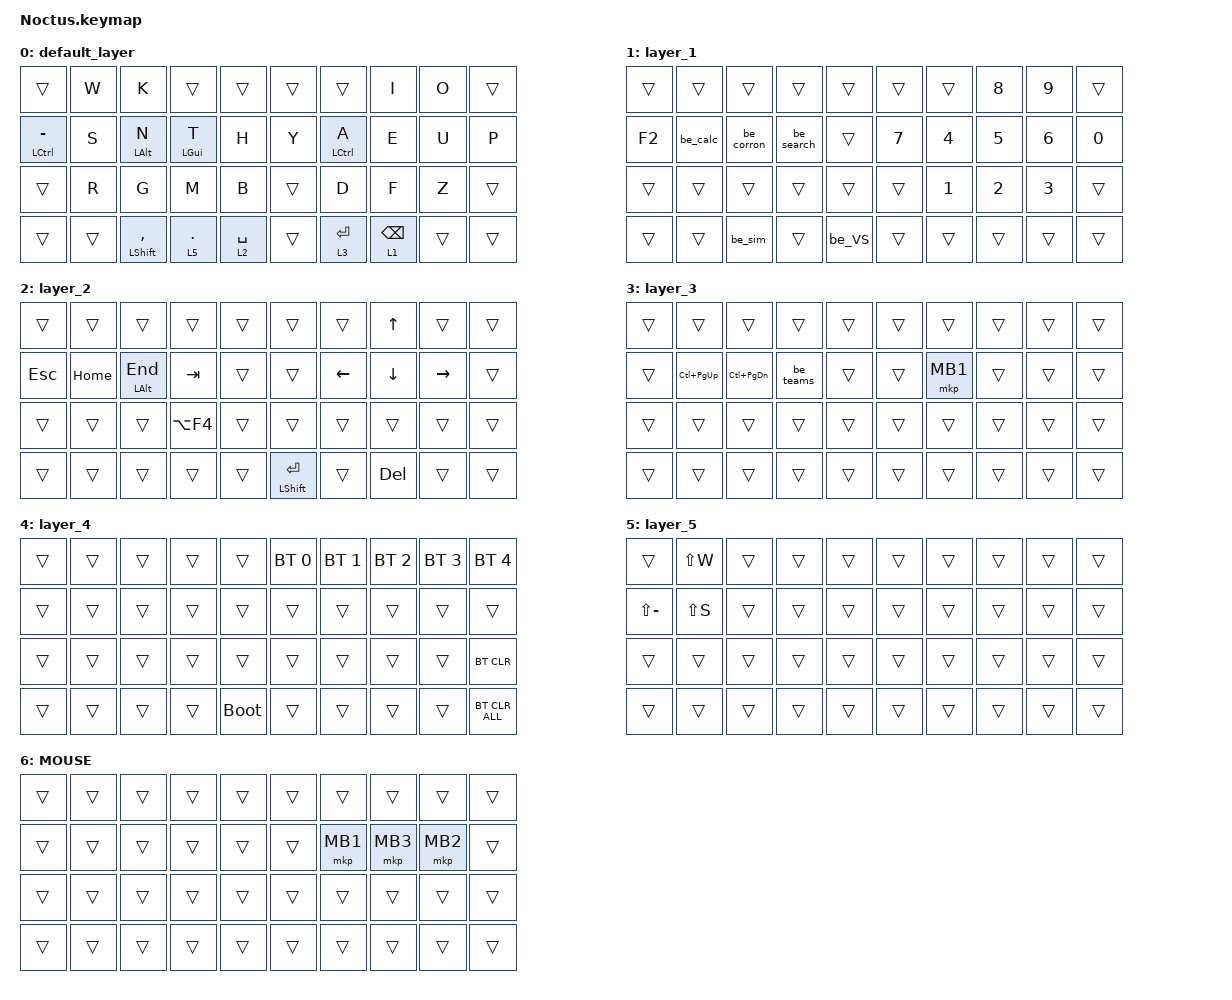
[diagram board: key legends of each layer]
#include <behaviors.dtsi>
#include <dt-bindings/zmk/bt.h>
#include <dt-bindings/zmk/keys.h>
#include <dt-bindings/zmk/pointing.h>

&mt {
    flavor = "balanced";
    quick-tap-ms = <0>;
};

/ {
    combos {
        compatible = "zmk,combos";

        co_int5 {
            bindings = <&kp INTERNATIONAL_5>;
            key-positions = <13 12>;
        };

        co_int4 {
            bindings = <&be_int4c>;
            key-positions = <16 17>;
        };

        co_lq {
            bindings = <&be_lq>;
            key-positions = <11 12>;
        };

        co_search {
            bindings = <&be_search>;
            key-positions = <28 26>;
        };

        co_shortcut {
            bindings = <&be_shortcut>;
            key-positions = <18 17>;
        };

        co_list {
            bindings = <&be_list>;
            key-positions = <28 26>;
        };

        co_symbol {
            bindings = <&be_symbol>;
            key-positions = <23 22>;
        };

        co_kakko {
            bindings = <&be_kakko>;
            key-positions = <28 27>;
        };

        co_lock {
            bindings = <&be_lock>;
            key-positions = <13 11>;
        };

        co_screen {
            bindings = <&cbe_screenshot>;
            key-positions = <23 21>;
        };

        co_xj {
            bindings = <&be_xj>;
            key-positions = <26 27>;
        };
    };

    macros {
        to_layer_0: to_layer_0 {
            compatible = "zmk,behavior-macro-one-param";
            #binding-cells = <1>;
            bindings = <&to 0 &macro_param_1to1 &kp MACRO_PLACEHOLDER>;
            label = "TO_LAYER_0";
        };

        ma_kakko: ma_kakko {
            compatible = "zmk,behavior-macro";
            #binding-cells = <0>;
            bindings = <&kp INT5 &kp LS(N8) &kp LS(N9) &kp LEFT_ARROW>;
            label = "MA_KAKKO";
        };

        ma_kakko2: ma_kakko2 {
            compatible = "zmk,behavior-macro";
            #binding-cells = <0>;
            bindings = <&kp INTERNATIONAL_5 &kp LS(COMMA) &kp LS(PERIOD) &kp LEFT>;
            label = "MA_KAKKO2";
        };

        ma_kakko3: ma_kakko3 {
            compatible = "zmk,behavior-macro";
            #binding-cells = <0>;
            bindings = <&kp RIGHT_BRACKET &kp BACKSLASH &kp LEFT>;
            label = "MA_KAKKO3";
        };

        ma_corron: ma_corron {
            compatible = "zmk,behavior-macro";
            #binding-cells = <0>;
            bindings = <&kp INTERNATIONAL_4 &kp K &kp O &kp R &kp O &kp N &kp SPACE &kp ENTER &kp INTERNATIONAL_5>;
            label = "MA_CORRON";
        };

        ma_at: ma_at {
            compatible = "zmk,behavior-macro";
            #binding-cells = <0>;
            bindings = <&kp INTERNATIONAL_5 &kp LEFT_BRACKET>;
            label = "MA_AT";
        };

        ma_under: ma_under {
            compatible = "zmk,behavior-macro";
            #binding-cells = <0>;
            bindings = <&kp INTERNATIONAL_4 &kp A &kp N &kp N &kp D &kp A &kp MINUS &kp B &kp A &kp MINUS &kp SPACE &kp ENTER &kp INTERNATIONAL_5>;
            label = "MA_UNDER";
        };
    };

    lt_to_layer_0: lt_to_layer_0 {
        compatible = "zmk,behavior-hold-tap";
        label = "LAYER_TAP_TO_0";
        bindings = <&mo>, <&to_layer_0>;

        #binding-cells = <2>;
        tapping-term-ms = <200>;
    };

    be_sim: be_sim {
        compatible = "zmk,behavior-tap-dance";
        label = "BE_SIM";
        #binding-cells = <0>;
        bindings = <&kp F5>, <&kp F10>, <&kp F11>;

        tapping-term-ms = <280>;
    };

    be_search: be_search {
        compatible = "zmk,behavior-tap-dance";
        label = "BE_SEARCH";
        #binding-cells = <0>;
        bindings = <&kp F12>, <&kp LS(LA(F12))>;

        tapping-term-ms = <280>;
    };

    be_VS: be_VS {
        compatible = "zmk,behavior-tap-dance";
        label = "BE_VS";
        #binding-cells = <0>;
        bindings = <&kp LS(LC(F))>, <&kp LS(LC(E))>;

        tapping-term-ms = <280>;
    };

    be_teams: be_teams {
        compatible = "zmk,behavior-tap-dance";
        label = "BE_TEAMS";
        #binding-cells = <0>;
        bindings = <&kp LS(LC(M))>, <&kp LS(LC(H))>;

        tapping-term-ms = <280>;
    };

    be_kakko: be_kakko {
        compatible = "zmk,behavior-tap-dance";
        label = "BE_KAKKO";
        #binding-cells = <0>;
        bindings = <&ma_kakko>, <&ma_kakko2>, <&ma_kakko3>;

        tapping-term-ms = <280>;
    };

    be_symbol: be_symbol {
        compatible = "zmk,behavior-tap-dance";
        label = "BE_SYMBOL";
        #binding-cells = <0>;
        bindings = <&ma_under>, <&ma_at>, <&kp LS(EQUAL)>;

        tapping-term-ms = <280>;
    };

    be_calc: be_calc {
        compatible = "zmk,behavior-tap-dance";
        label = "BE_CALC";
        #binding-cells = <0>;
        bindings = <&kp SLASH>, <&kp LS(SEMICOLON)>, <&kp LS(SQT)>;

        tapping-term-ms = <280>;
    };

    be_int4c: be_int4c {
        compatible = "zmk,behavior-tap-dance";
        label = "BE_INT4C";
        #binding-cells = <0>;
        bindings = <&kp INTERNATIONAL_4>, <&kp C>;

        tapping-term-ms = <280>;
    };

    be_lq: be_lq {
        compatible = "zmk,behavior-tap-dance";
        label = "BE_LQ";
        #binding-cells = <0>;
        bindings = <&kp L>, <&kp Q>;

        tapping-term-ms = <280>;
    };

    be_lock: be_lock {
        compatible = "zmk,behavior-tap-dance";
        label = "BE_LOCK";
        #binding-cells = <0>;
        bindings = <&kp LG(E)>, <&kp LG(L)>;

        tapping-term-ms = <280>;
    };

    be_shortcut: be_shortcut {
        compatible = "zmk,behavior-tap-dance";
        label = "BE_SHORTCUT";
        #binding-cells = <0>;
        bindings = <&kp LC(C)>, <&kp LC(V)>, <&kp LC(X)>;

        tapping-term-ms = <280>;
    };

    be_corron: be_corron {
        compatible = "zmk,behavior-tap-dance";
        label = "BE_CORRON";
        #binding-cells = <0>;
        bindings = <&ma_corron>, <&kp SEMICOLON>;

        tapping-term-ms = <270>;
    };

    be_faV: be_faV {
        compatible = "zmk,behavior-tap-dance";
        label = "BE_FAV";
        #binding-cells = <0>;
        bindings = <&kp LS(LC(O))>, <&kp V>;

        tapping-term-ms = <280>;
    };

    be_xj: be_xj {
        compatible = "zmk,behavior-tap-dance";
        label = "BE_XJ";
        #binding-cells = <0>;
        bindings = <&kp X>, <&kp J>;

        tapping-term-ms = <280>;
    };

    be_list: be_list {
        compatible = "zmk,behavior-tap-dance";
        label = "BE_LIST";
        #binding-cells = <0>;
        bindings = <&kp LC(L)>, <&kp LC(X)>;

        tapping-term-ms = <280>;
    };

    cbe_screenshot: cbe_screenshot {
        compatible = "zmk,behavior-tap-dance";
        label = "CBE_SCREENSHOT";
        #binding-cells = <0>;
        bindings = <&kp LG(R)>, <&kp LS(LG(S))>;

        tapping-term-ms = <280>;
    };
};

/ {
    behaviors {
    };

    keymap {
        compatible = "zmk,keymap";

        default_layer {
            bindings = <
&trans           &kp W   &kp K                 &trans          &trans         &trans  &trans       &kp I            &kp O   &trans
&mt LCTRL MINUS  &kp S   &mt LEFT_ALT N        &mt LEFT_GUI T  &kp H          &kp Y   &mt LCTRL A  &kp E            &kp U   &kp P
&trans           &kp R   &kp G                 &kp M           &kp B          &trans  &kp D        &kp F            &kp Z   &trans
&trans           &trans  &mt LEFT_SHIFT COMMA  &lt 5 PERIOD    &lt 2 SPACE    &trans  &lt 3 ENTER  &lt 1 BACKSPACE  &trans  &trans
            >;
        };

        layer_1 {
            bindings = <
&trans  &trans    &trans      &trans      &trans    &trans  &trans        &kp N8        &kp N9        &trans
&kp F2  &be_calc  &be_corron  &be_search  &trans    &kp N7  &kp NUMBER_4  &kp N5        &kp NUMBER_6  &kp N0
&trans  &trans    &trans      &trans      &trans    &trans  &kp NUMBER_1  &kp NUMBER_2  &kp NUMBER_3  &trans
&trans  &trans    &be_sim     &trans      &be_VS    &trans  &trans        &trans        &trans        &trans
            >;
        };

        layer_2 {
            bindings = <
&trans   &trans    &trans        &trans      &trans    &trans            &trans    &kp UP_ARROW  &trans     &trans
&kp ESC  &kp HOME  &mt LALT END  &kp TAB     &trans    &trans            &kp LEFT  &kp DOWN      &kp RIGHT  &trans
&trans   &trans    &trans        &kp LA(F4)  &trans    &trans            &trans    &trans        &trans     &trans
&trans   &trans    &trans        &trans      &trans    &mt LSHIFT ENTER  &trans    &kp DELETE    &trans     &trans
            >;
        };

        layer_3 {
            bindings = <
&trans  &trans           &trans             &trans     &trans    &trans  &trans    &trans  &trans  &trans
&trans  &kp LC(PAGE_UP)  &kp LC(PAGE_DOWN)  &be_teams  &trans    &trans  &mkp MB1  &trans  &trans  &trans
&trans  &trans           &trans             &trans     &trans    &trans  &trans    &trans  &trans  &trans
&trans  &trans           &trans             &trans     &trans    &trans  &trans    &trans  &trans  &trans
            >;
        };

        layer_4 {
            bindings = <
&trans  &trans  &trans  &trans  &trans         &bt BT_SEL 0  &bt BT_SEL 1  &bt BT_SEL 2  &bt BT_SEL 3  &bt BT_SEL 4
&trans  &trans  &trans  &trans  &trans         &trans        &trans        &trans        &trans        &trans
&trans  &trans  &trans  &trans  &trans         &trans        &trans        &trans        &trans        &bt BT_CLR
&trans  &trans  &trans  &trans  &bootloader    &trans        &trans        &trans        &trans        &bt BT_CLR_ALL
            >;
        };

        layer_5 {
            bindings = <
&trans         &kp LS(W)  &trans  &trans  &trans    &trans  &trans  &trans  &trans  &trans
&kp LS(MINUS)  &kp LS(S)  &trans  &trans  &trans    &trans  &trans  &trans  &trans  &trans
&trans         &trans     &trans  &trans  &trans    &trans  &trans  &trans  &trans  &trans
&trans         &trans     &trans  &trans  &trans    &trans  &trans  &trans  &trans  &trans
            >;
        };

        MOUSE {
            bindings = <
&trans  &trans  &trans  &trans  &trans    &trans  &trans    &trans    &trans    &trans
&trans  &trans  &trans  &trans  &trans    &trans  &mkp MB1  &mkp MB3  &mkp MB2  &trans
&trans  &trans  &trans  &trans  &trans    &trans  &trans    &trans    &trans    &trans
&trans  &trans  &trans  &trans  &trans    &trans  &trans    &trans    &trans    &trans
            >;
        };
    };
};
